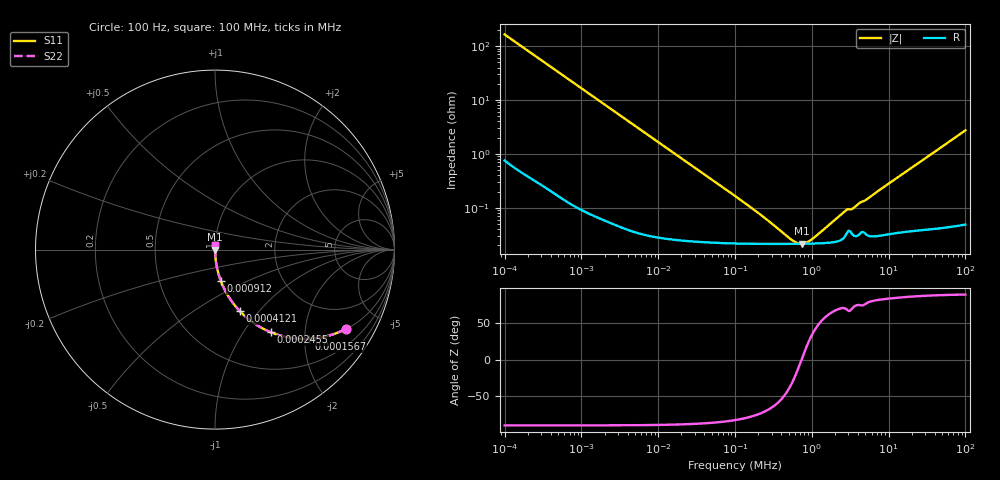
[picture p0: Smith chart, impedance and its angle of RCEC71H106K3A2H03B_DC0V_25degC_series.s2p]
!Murata Part Number: RCEC71H106K3A2H03B
!These Parameters are Measured in Series Mode Connection
!  o--ll--o
!Port1  Port2
!  o------o
!Operation Temp=25[degC], DC Bias Voltage=0[V]
!Freq. Start=100[Hz] Stop=100[MHz], 401[Steps]
!Data Generated on Feb 18, 2020
# Hz S RI R 50
!Freq.(Hz) S11(Real) S11(Imag) S21(Real) S21(Imag) S12(Real) S12(Imag) S22(Real) S22(Imag)
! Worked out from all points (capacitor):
!   401 points, 100 Hz to 100 MHz, reference 50 ohm
!   read as one part in series: C = 9.68 uF near 107.2 Hz
!   lowest |Z| = 21.5 mohm at 741.3 kHz (marker M1)
!   series resonance near 734.9 kHz, so ESL is about 4.8 nH
!   S11 on the Smith chart (normalised r, x): 100 Hz: 1.02, -3.29; 156.7 Hz: 1.01, -2.10; 245.5 Hz: 1.01, -1.34; 412.1 Hz: 1.00, -0.80; 912 Hz: 1.00, -0.36; 100 MHz: 1.00, +0.05
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100  0.7288 -0.4423  0.2712 0.4423  0.2712 0.4423  0.7288 -0.4423
156.6751  0.5241 -0.4972  0.4759 0.4972  0.4759 0.4972  0.5241 -0.4972
192.7525  0.4219 -0.4916  0.5781 0.4916  0.5781 0.4916  0.4219 -0.4916
245.4709  0.3112 -0.4606  0.6888 0.4606  0.6888 0.4606  0.3112 -0.4606
323.5937  0.2071 -0.4028  0.7929 0.4028  0.7929 0.4028  0.2071 -0.4028
412.0975  0.1393 -0.3438  0.8607 0.3438  0.8607 0.3438  0.1393 -0.3438
582.1032  0.0756 -0.2618  0.9244 0.2618  0.9244 0.2618  0.0756 -0.2618
912.0108  0.0327 -0.1751  0.9673 0.1751  0.9673 0.1751  0.0327 -0.1751
1011.579  0.0268 -0.1589  0.9732 0.1589  0.9732 0.1589  0.0268 -0.1589
2660.725  0.00435 -0.062  0.9957 0.062  0.9957 0.062  0.00435 -0.062
10232.93  0.000541 -0.0162  0.9995 0.0162  0.9995 0.0162  0.000541 -0.0162
100000  0.00022 -0.00164  0.9998 0.00164  0.9998 0.00164  0.00022 -0.00164
229086.8  0.000214 -0.00066  0.9998 0.00066  0.9998 0.00066  0.000214 -0.00066
543250.3  0.000214 -0.00014  0.9998 0.00014  0.9998 0.00014  0.000214 -0.00014
645654.2  0.000214 -5.92e-05  0.9998 5.92e-05  0.9998 5.92e-05  0.000214 -5.92e-05
741310.2  0.000215 4.04e-06  0.9998 -4.04e-06  0.9998 -4.04e-06  0.000215 4.04e-06
851138  0.000215 6.74e-05  0.9998 -6.74e-05  0.9998 -6.74e-05  0.000215 6.74e-05
1011579  0.000216 0.000149  0.9998 -0.000149  0.9998 -0.000149  0.000216 0.000149
2754229  0.000308 0.000833  0.9997 -0.000833  0.9997 -0.000833  0.000308 0.000833
3507519  0.000306 0.000947  0.9997 -0.000947  0.9997 -0.000947  0.000306 0.000947
1.023293e7  0.000332 0.00285  0.9997 -0.00285  0.9997 -0.00285  0.000332 0.00285
1e8  0.00123 0.0273  0.9988 -0.0273  0.9988 -0.0273  0.00123 0.0273
